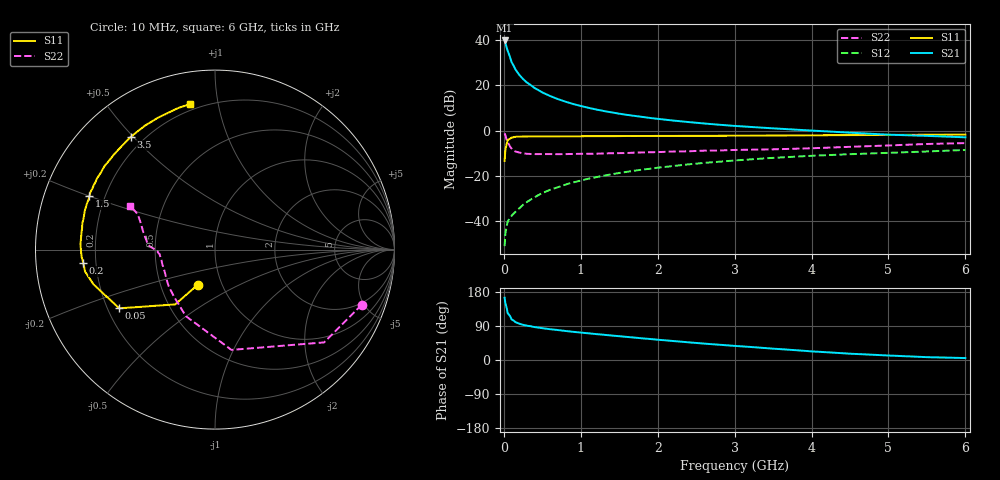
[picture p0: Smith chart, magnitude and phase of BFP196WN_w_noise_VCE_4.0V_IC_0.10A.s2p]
! Infineon Technologies  Discrete & RF Semiconductors
! BFP196WN
! VCE =  4.0 V,  IC = 0.10 A
! Common Emitter S-Parameters:  Jan 2017
# GHz  S  MA  R  50
!  f  S11  S21  S12  S22
! GHz  MAG  ANG  MAG  ANG  MAG  ANG  MAG  ANG
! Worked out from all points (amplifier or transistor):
!   77 points, 10 MHz to 6 GHz, reference 50 ohm
!   highest |S21| = 39.9 dB at 10 MHz (marker M1)
!   |S21| within 3 dB of that: start of sweep to 35.68 MHz
!   unconditionally stable (mu >= 1): 463 MHz to 2.606 GHz
!   at 130 MHz: K = 0.73, MSG = 32.6 dB, |S12| = -36.6 dB
!   at 2.2 GHz: K = 1.02, MAG = 9.2 dB, |S12| = -15.6 dB
!   at 6 GHz: K = 0.92, MSG = 2.8 dB, |S12| = -8.5 dB
!   lowest NFmin = 1.80 dB at 450 MHz
!   S11 on the Smith chart (normalised r, x): 10 MHz: 0.77, -0.31; 50 MHz: 0.25, -0.27; 200 MHz: 0.15, -0.05; 1.5 GHz: 0.14, +0.20; 3.5 GHz: 0.15, +0.49; 6 GHz: 0.17, +0.83
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0.01  0.2162 -115.9  99.03 164.3  0.0028 76.6  0.8735 -20.6
0.02  0.3777 -126.0  87.11 149.4  0.0053 68.5  0.7979 -40.4
0.05  0.6257 -148.5  57.98 123.4  0.0098 52.2  0.5663 -80.7
0.1  0.7039 -164.0  32.95 107.2  0.0131 55.0  0.405 -113.6
0.15  0.7344 -170.4  22.8 100.1  0.016 58.0  0.3474 -131.2
0.2  0.7375 -174.3  17.25 95.9  0.0192 63.2  0.3289 -141.8
0.25  0.7439 -176.8  13.88 92.8  0.023 64.5  0.3167 -148.3
0.3  0.7466 -179.1  11.63 90.6  0.0265 67.3  0.3089 -153.7
0.4  0.7501 177.6  8.769 86.8  0.0338 70.1  0.304 -159.6
0.5  0.7492 175.1  7.019 83.9  0.0417 71.3  0.3046 -164.0
0.6  0.75 172.8  5.865 81.3  0.0494 71.9  0.3044 -167.2
0.7  0.7501 170.8  5.023 79.1  0.0561 73.0  0.3031 -169.5
0.8  0.7537 168.8  4.397 76.6  0.0644 72.7  0.3038 -170.8
0.9  0.7526 166.8  3.905 74.4  0.0719 72.4  0.3066 -172.2
1.1  0.7572 163.4  3.209 70.4  0.0869 71.5  0.3092 -174.8
1.5  0.7605 156.9  2.377 62.8  0.1162 69.0  0.3193 -178.1
2.1  0.7672 147.4  1.754 51.9  0.1589 64.2  0.3415 179.1
3.1  0.7754 132.6  1.246 35.9  0.2259 55.3  0.378 174.6
3.5  0.7843 126.8  1.128 29.9  0.2511 51.9  0.3876 171.8
4.1  0.7938 118.4  0.987 21.6  0.2833 46.3  0.4154 165.3
5.1  0.8079 107.6  0.808 11.0  0.329 38.5  0.4795 155.1
6  0.8218 99.9  0.715 5.1  0.3753 32.4  0.5323 153.0
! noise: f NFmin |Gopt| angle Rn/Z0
0.45  1.8  0.6  -174  0.06
0.9  1.96  0.61  -167  0.08
1.9  2.98  0.71  -146  0.26
2.4  3.72  0.72  -137  0.44
